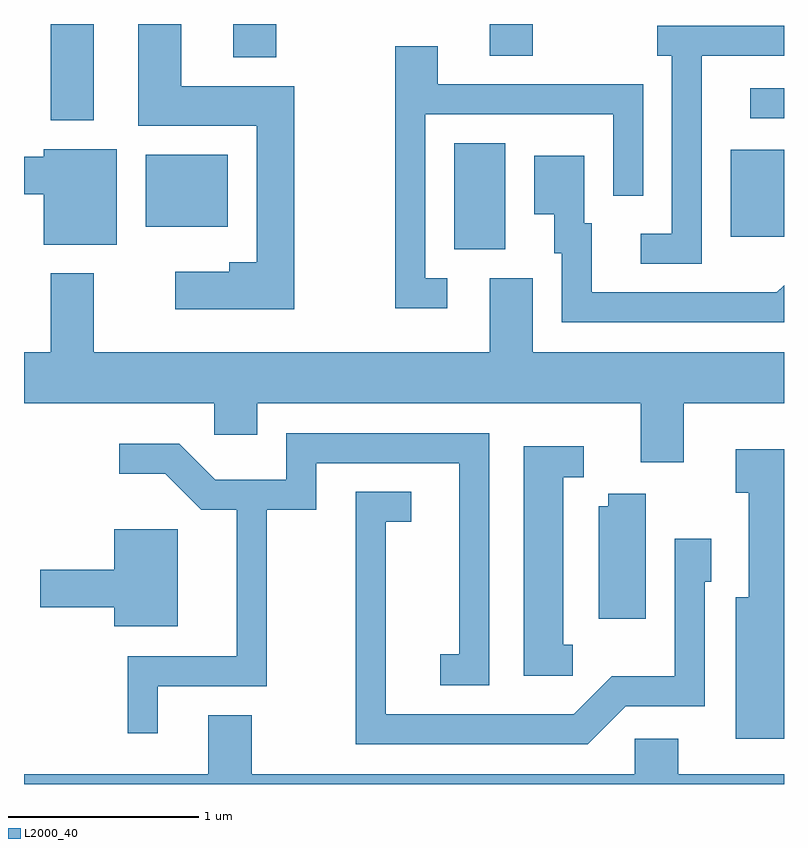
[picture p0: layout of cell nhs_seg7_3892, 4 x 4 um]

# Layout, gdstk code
import gdstk
lib = gdstk.Library(unit=1e-6, precision=1e-09)
def R(c, l, rs):  # rectangles x0, y0, x1, y1
    for r in rs: c.add(gdstk.rectangle(r[:2], r[2:], *l))
def P(c, l, *ps):  # polygons
    for p in ps: c.add(gdstk.Polygon(p, *l))
L2000_40 = (2000, 40)

nhs_seg7_3892 = lib.new_cell('nhs_seg7_3892')
R(nhs_seg7_3892, L2000_40, [(305.876,1775.066,306.144,1775.624), (307.331,1775.131,307.611,1775.589), (304.251,1775.186,304.684,1775.564), (303.751,1775.746,303.979,1776.252), (307.433,1775.756,307.611,1775.914), (304.711,1776.076,304.939,1776.252), (306.061,1776.086,306.289,1776.252)])
P(nhs_seg7_3892, L2000_40, [(305.034,1775.924),(304.439,1775.924),(304.439,1776.252),(304.211,1776.252),(304.211,1775.716),(304.836,1775.716),(304.836,1774.999),(304.691,1774.999),(304.691,1774.949),(304.406,1774.949),(304.406,1774.751),(305.034,1774.751)],
  [(307.179,1776.086),(307.611,1776.086),(307.611,1776.244),(306.943,1776.244),(306.943,1776.086),(307.021,1776.086),(307.021,1775.149),(306.858,1775.149),(306.858,1774.991),(307.179,1774.991)],
  [(305.838,1774.914),(305.724,1774.914),(305.724,1775.776),(306.711,1775.776),(306.711,1775.348),(306.869,1775.348),(306.869,1775.934),(305.789,1775.934),(305.789,1776.134),(305.566,1776.134),(305.566,1774.756),(305.838,1774.756)],
  [(304.099,1775.594),(303.716,1775.594),(303.716,1775.554),(303.611,1775.554),(303.611,1775.356),(303.716,1775.356),(303.716,1775.091),(304.099,1775.091)],
  [(307.611,1774.876),(307.574,1774.839),(306.599,1774.839),(306.599,1775.204),(306.559,1775.204),(306.559,1775.559),(306.296,1775.559),(306.296,1775.251),(306.401,1775.251),(306.401,1775.046),(306.441,1775.046),(306.441,1774.681),(307.611,1774.681)],
  [(307.084,1774.256),(307.611,1774.256),(307.611,1774.524),(306.289,1774.524),(306.289,1774.914),(306.061,1774.914),(306.061,1774.524),(303.979,1774.524),(303.979,1774.939),(303.751,1774.939),(303.751,1774.524),(303.611,1774.524),(303.611,1774.256),(304.611,1774.256),(304.611,1774.091),(304.839,1774.091),(304.839,1774.256),(306.856,1774.256),(306.856,1773.946),(307.084,1773.946)],
  [(304.314,1772.766),(304.889,1772.766),(304.889,1773.696),(305.149,1773.696),(305.149,1773.941),(305.901,1773.941),(305.901,1772.934),(305.803,1772.934),(305.803,1772.771),(306.059,1772.771),(306.059,1774.099),(304.991,1774.099),(304.991,1773.854),(304.617,1773.854),(304.427,1774.044),(304.113,1774.044),(304.113,1773.886),(304.354,1773.886),(304.544,1773.696),(304.731,1773.696),(304.731,1772.924),(304.156,1772.924),(304.156,1772.518),(304.314,1772.518)],
  [(306.498,1772.984),(306.449,1772.984),(306.449,1773.866),(306.558,1773.866),(306.558,1774.029),(306.241,1774.029),(306.241,1772.821),(306.498,1772.821)],
  [(307.611,1774.014),(307.356,1774.014),(307.356,1773.786),(307.426,1773.786),(307.426,1773.234),(307.356,1773.234),(307.356,1772.491),(307.611,1772.491)],
  [(306.777,1772.661),(307.194,1772.661),(307.194,1773.316),(307.229,1773.316),(307.229,1773.544),(307.036,1773.544),(307.036,1772.819),(306.704,1772.819),(306.504,1772.619),(305.514,1772.619),(305.514,1773.631),(305.648,1773.631),(305.648,1773.789),(305.356,1773.789),(305.356,1772.461),(306.577,1772.461)],
  [(306.884,1773.779),(306.686,1773.779),(306.686,1773.714),(306.636,1773.714),(306.636,1773.121),(306.884,1773.121)],
  [(304.419,1773.594),(304.086,1773.594),(304.086,1773.379),(303.696,1773.379),(303.696,1773.181),(304.086,1773.181),(304.086,1773.081),(304.419,1773.081)],
  [(307.611,1772.304),(307.054,1772.304),(307.054,1772.489),(306.826,1772.489),(306.826,1772.304),(304.809,1772.304),(304.809,1772.614),(304.581,1772.614),(304.581,1772.304),(303.611,1772.304),(303.611,1772.252),(307.611,1772.252)])

lib.write_gds('nhs_seg7_3892.gds')
